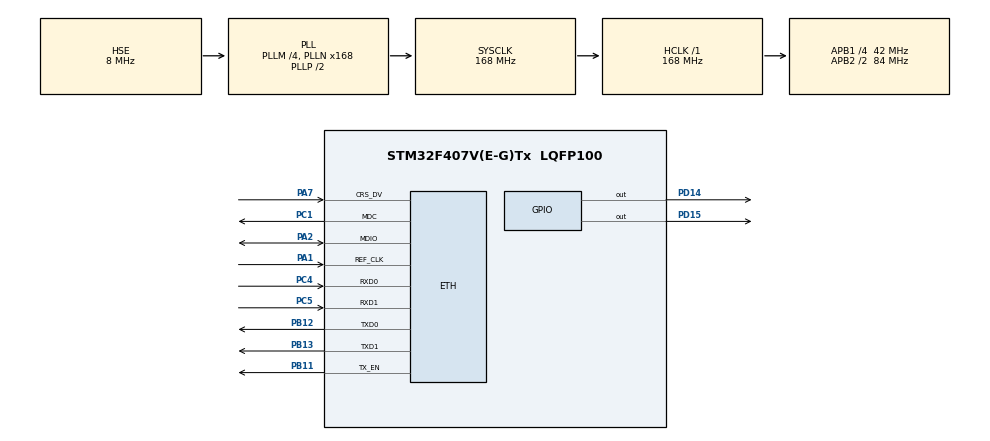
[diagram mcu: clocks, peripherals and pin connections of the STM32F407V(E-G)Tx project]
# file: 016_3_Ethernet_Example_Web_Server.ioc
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ETH.MediaInterface=ETH_MEDIA_INTERFACE_RMII
LWIP.IP_ADDRESS=192.168.000.010
LWIP.LWIP_DHCP=0
LWIP.LWIP_HTTPD=1
LWIP.LWIP_HTTPD_CGI=1
LWIP.LWIP_HTTPD_SSI=1
LWIP.NETMASK_ADDRESS=255.255.255.000
LWIP.Version=v2.1.2_Cube
Mcu.Family=STM32F4
Mcu.Name=STM32F407V(E-G)Tx
Mcu.Package=LQFP100
NVIC.PriorityGroup=NVIC_PRIORITYGROUP_4
PA1.Mode=RMII
PA1.Signal=ETH_REF_CLK
PA2.Mode=RMII
PA2.Signal=ETH_MDIO
PA7.Mode=RMII
PA7.Signal=ETH_CRS_DV
PB11.Mode=RMII
PB11.Signal=ETH_TX_EN
PB12.Mode=RMII
PB12.Signal=ETH_TXD0
PB13.Mode=RMII
PB13.Signal=ETH_TXD1
PC1.Mode=RMII
PC1.Signal=ETH_MDC
PC4.Mode=RMII
PC4.Signal=ETH_RXD0
PC5.Mode=RMII
PC5.Signal=ETH_RXD1
PD14.Signal=GPIO_Output
PD15.Signal=GPIO_Output
PH0-OSC_IN.Mode=HSE-External-Oscillator
PH0-OSC_IN.Signal=RCC_OSC_IN
PH1-OSC_OUT.Mode=HSE-External-Oscillator
PH1-OSC_OUT.Signal=RCC_OSC_OUT
ProjectManager.HeapSize=0x2000
ProjectManager.StackSize=0x4000
ProjectManager.TargetToolchain=STM32CubeIDE
RCC.48MHZClocksFreq_Value=84000000
RCC.AHBFreq_Value=168000000
RCC.APB1CLKDivider=RCC_HCLK_DIV4
RCC.APB1Freq_Value=42000000
RCC.APB1TimFreq_Value=84000000
RCC.APB2CLKDivider=RCC_HCLK_DIV2
RCC.APB2Freq_Value=84000000
RCC.APB2TimFreq_Value=168000000
RCC.CortexFreq_Value=168000000
RCC.HCLKFreq_Value=168000000
RCC.HSE_VALUE=8000000
RCC.HSI_VALUE=16000000
RCC.LSE_VALUE=32768
RCC.PLLM=4
RCC.PLLN=168
RCC.PLLSourceVirtual=RCC_PLLSOURCE_HSE
RCC.SYSCLKFreq_VALUE=168000000
RCC.SYSCLKSource=RCC_SYSCLKSOURCE_PLLCLK
RCC.VCOOutputFreq_Value=336000000
VP_LWIP_VS_Enabled.Mode=Enabled
board=custom

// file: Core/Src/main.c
/* USER CODE BEGIN Header */
/**
  ******************************************************************************
  * @file           : main.c
  * @brief          : Main program body
  ******************************************************************************
  * @attention
  *
  * <h2><center>&copy; Copyright (c) 2020 STMicroelectronics.
  * All rights reserved.</center></h2>
  *
  * This software component is licensed by ST under BSD 3-Clause license,
  * the "License"; You may not use this file except in compliance with the
  * License. You may obtain a copy of the License at:
  *                        opensource.org/licenses/BSD-3-Clause
  *
  ******************************************************************************
  */
/* USER CODE END Header */
#include "main.h"
#include "lwip.h"

/* USER CODE BEGIN Includes */
#include "tcp_echoserver.h"
#include "udp_echoserver.h"
#include "httpd.h"
/* USER CODE END Includes */

/* USER CODE BEGIN PV */
const char* LedCGIhandler(int iIndex, int iNumParams, char *pcParam[], char *pcValue[]);
const tCGI LedCGI = { "/leds.cgi", LedCGIhandler };
tCGI theCGItable[1];

u16_t mySSIHandler(int iIndex, char *pcInsert, int iInsertLen);
char const *theSSItags[2] = { "tag1", "tag2" };
/* USER CODE END PV */

void SystemClock_Config(void);
static void MX_GPIO_Init(void);

/* USER CODE BEGIN 0 */
const char* LedCGIhandler(int iIndex, int iNumParams, char *pcParam[], char *pcValue[])
{
    uint32_t i = 0;

    if (iIndex == 0) {

        //turning the LED lights off
        HAL_GPIO_WritePin(GPIOD, GPIO_PIN_15, GPIO_PIN_RESET);
        HAL_GPIO_WritePin(GPIOD, GPIO_PIN_14, GPIO_PIN_RESET);

    }

    for (i = 0; i < iNumParams; i++) {

        if (strcmp(pcParam[i], "led") == 0)

        {

            if (strcmp(pcValue[i], "1") == 0) {
                HAL_GPIO_WritePin(GPIOD, GPIO_PIN_15, GPIO_PIN_SET);
            }

            else if (strcmp(pcValue[i], "2") == 0) {

                HAL_GPIO_WritePin(GPIOD, GPIO_PIN_14, GPIO_PIN_SET);

            }

        }

    }
    return "/index2.html";
}

u16_t mySSIHandler(int iIndex, char *pcInsert, int iInsertLen)
{

	if(iIndex == 0)
	{
		sprintf(pcInsert,"1234 ABC");
		return 8;
	}
	else
	{
		sprintf(pcInsert,"ADC Voltage 3.300 V");
		return 19;
	}

	return 0;
}

/* USER CODE END 0 */

int main(void)
{

  /* MCU Configuration--------------------------------------------------------*/

  /* Reset of all peripherals, Initializes the Flash interface and the Systick. */
  HAL_Init();

  /* Configure the system clock */
  SystemClock_Config();

  /* Initialize all configured peripherals */
  MX_GPIO_Init();
  MX_LWIP_Init();
  /* USER CODE BEGIN 2 */
  tcp_echoserver_init();
  udp_echoserver_init();
  httpd_init();

  theCGItable[0] = LedCGI;
  http_set_cgi_handlers(theCGItable, 1);

  http_set_ssi_handler(mySSIHandler, (char const **) theSSItags, 2);
  /* USER CODE END 2 */

  /* Infinite loop */
  while (1)
  {

    /* USER CODE BEGIN 3 */
	  MX_LWIP_Process();
	  HAL_Delay(50);
  }
  /* USER CODE END 3 */
}

void SystemClock_Config(void)
{
  RCC_OscInitTypeDef RCC_OscInitStruct = {0};
  RCC_ClkInitTypeDef RCC_ClkInitStruct = {0};

  /** Configure the main internal regulator output voltage
  */
  __HAL_RCC_PWR_CLK_ENABLE();
  __HAL_PWR_VOLTAGESCALING_CONFIG(PWR_REGULATOR_VOLTAGE_SCALE1);
  /** Initializes the RCC Oscillators according to the specified parameters
  * in the RCC_OscInitTypeDef structure.
  */
  RCC_OscInitStruct.OscillatorType = RCC_OSCILLATORTYPE_HSE;
  RCC_OscInitStruct.HSEState = RCC_HSE_ON;
  RCC_OscInitStruct.PLL.PLLState = RCC_PLL_ON;
  RCC_OscInitStruct.PLL.PLLSource = RCC_PLLSOURCE_HSE;
  RCC_OscInitStruct.PLL.PLLM = 4;
  RCC_OscInitStruct.PLL.PLLN = 168;
  RCC_OscInitStruct.PLL.PLLP = RCC_PLLP_DIV2;
  RCC_OscInitStruct.PLL.PLLQ = 4;
  if (HAL_RCC_OscConfig(&RCC_OscInitStruct) != HAL_OK)
  {
    Error_Handler();
  }
  /** Initializes the CPU, AHB and APB buses clocks
  */
  RCC_ClkInitStruct.ClockType = RCC_CLOCKTYPE_HCLK|RCC_CLOCKTYPE_SYSCLK
                              |RCC_CLOCKTYPE_PCLK1|RCC_CLOCKTYPE_PCLK2;
  RCC_ClkInitStruct.SYSCLKSource = RCC_SYSCLKSOURCE_PLLCLK;
  RCC_ClkInitStruct.AHBCLKDivider = RCC_SYSCLK_DIV1;
  RCC_ClkInitStruct.APB1CLKDivider = RCC_HCLK_DIV4;
  RCC_ClkInitStruct.APB2CLKDivider = RCC_HCLK_DIV2;

  if (HAL_RCC_ClockConfig(&RCC_ClkInitStruct, FLASH_LATENCY_5) != HAL_OK)
  {
    Error_Handler();
  }
}

static void MX_GPIO_Init(void)
{
  GPIO_InitTypeDef GPIO_InitStruct = {0};

  /* GPIO Ports Clock Enable */
  __HAL_RCC_GPIOH_CLK_ENABLE();
  __HAL_RCC_GPIOC_CLK_ENABLE();
  __HAL_RCC_GPIOA_CLK_ENABLE();
  __HAL_RCC_GPIOB_CLK_ENABLE();
  __HAL_RCC_GPIOD_CLK_ENABLE();

  /*Configure GPIO pin Output Level */
  HAL_GPIO_WritePin(GPIOD, GPIO_PIN_14|GPIO_PIN_15, GPIO_PIN_RESET);

  /*Configure GPIO pins : PD14 PD15 */
  GPIO_InitStruct.Pin = GPIO_PIN_14|GPIO_PIN_15;
  GPIO_InitStruct.Mode = GPIO_MODE_OUTPUT_PP;
  GPIO_InitStruct.Pull = GPIO_NOPULL;
  GPIO_InitStruct.Speed = GPIO_SPEED_FREQ_LOW;
  HAL_GPIO_Init(GPIOD, &GPIO_InitStruct);

}

void Error_Handler(void)
{
}

/************************ (C) COPYRIGHT STMicroelectronics *****END OF FILE****/
